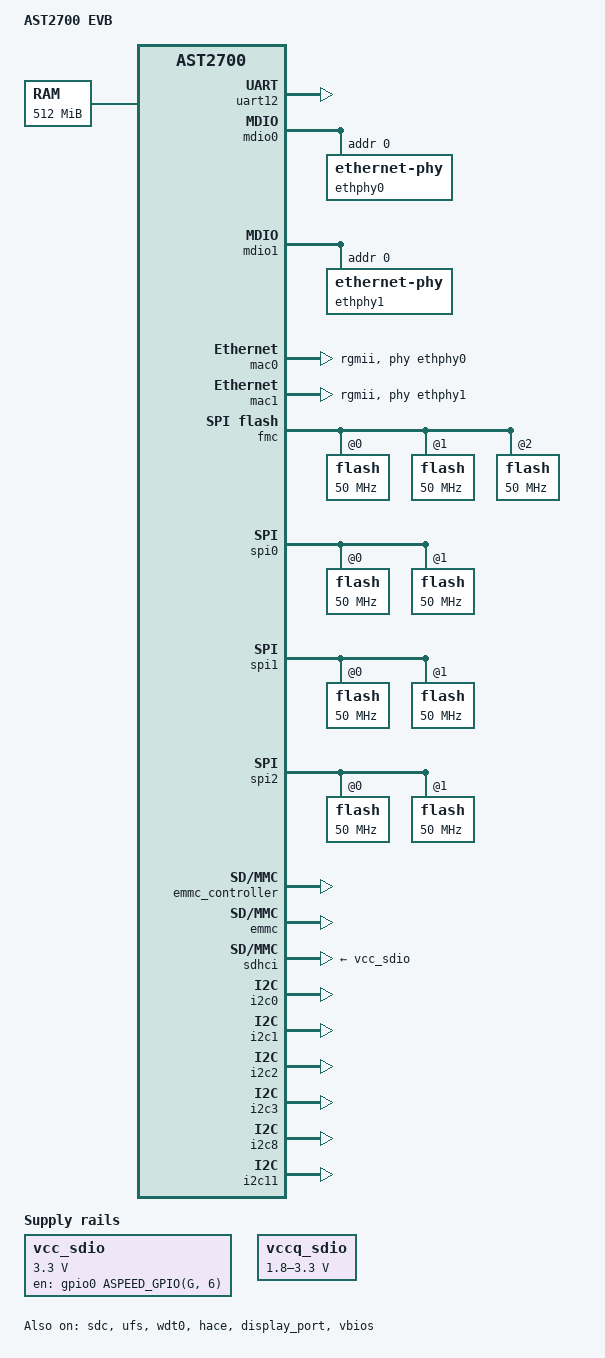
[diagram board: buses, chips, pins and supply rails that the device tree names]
// SPDX-License-Identifier: GPL-2.0+

/dts-v1/;

#include "ast2700.dtsi"
#include "ast2700-u-boot.dtsi"

/ {
	model = "AST2700 EVB";
	compatible = "aspeed,ast2700-evb", "aspeed,ast2700";

	memory {
		device_type = "memory";
		reg = <0x4 0x00000000 0x0 0x20000000>;
	};

	chosen {
		stdout-path = &uart12;
	};

	reserved-memory {
		#address-cells = <2>;
		#size-cells = <2>;

		espi_mmbi_memory: espi-mmbi-memory@428000000 {
			reg = <0x4 0x28000000 0x0 0x4000000>;
			no-map;
		};

		ssp_memory: ssp-memory@42c000000 {
			reg = <0x4 0x2c000000 0x0 0x2000000>;
			no-map;
		};

		tsp_memory: tsp-memory@42e000000 {
			reg = <0x4 0x2e000000 0x0 0x2000000>;
			no-map;
		};

		atf: trusted-firmware-a@430000000 {
			reg = <0x4 0x30000000 0x0 0x80000>;
			no-map;
		};

		optee_core: optee-core@430080000 {
			reg = <0x4 0x30080000 0x0 0x1000000>;
			no-map;
		};

		vbios_base0: vbios-base0@431bb0000 {
			reg = <0x4 0x31bb0000 0x0 0x10000>;
			no-map;
		};

		vbios_base1: vbios-base1@431bc0000 {
			reg = <0x4 0x31bc0000 0x0 0x10000>;
			no-map;
		};

		mctp0_reserved: mctp0-reserved@431bd0000 {
			reg = <0x4 0x31bd0000 0x0 0x10000>;
			no-map;
		};

		mctp1_reserved: mctp1-reserved@431be0000 {
			reg = <0x4 0x31be0000 0x0 0x10000>;
			no-map;
		};

		mctp2_reserved: mctp2-reserved@431bf0000 {
			reg = <0x4 0x31bf0000 0x0 0x10000>;
			no-map;
		};
	};
};

&uart12 {
	status = "okay";
};

&mdio0 {
	status = "okay";
	#address-cells = <1>;
	#size-cells = <0>;
	ethphy0: ethernet-phy@0 {
		reg = <0>;
	};
};

&mdio1 {
	status = "okay";
	#address-cells = <1>;
	#size-cells = <0>;
	ethphy1: ethernet-phy@0 {
		reg = <0>;
	};
};

&mac0 {
	status = "okay";
	phy-mode = "rgmii";
	phy-handle = <&ethphy0>;
	pinctrl-names = "default";
	pinctrl-0 = <&pinctrl_rgmii0_default>;
};

&mac1 {
	status = "okay";
	phy-mode = "rgmii";
	phy-handle = <&ethphy1>;
	pinctrl-names = "default";
	pinctrl-0 = <&pinctrl_rgmii1_default>;
};

&fmc {
	status = "okay";
	pinctrl-names = "default";
	pinctrl-0 = <&pinctrl_fwspi_quad_default>;

	flash@0 {
		status = "okay";
		spi-max-frequency = <50000000>;
		spi-tx-bus-width = <4>;
		spi-rx-bus-width = <4>;
	};

	flash@1 {
		status = "okay";
		spi-max-frequency = <50000000>;
		spi-tx-bus-width = <4>;
		spi-rx-bus-width = <4>;
	};

	flash@2 {
		status = "okay";
		spi-max-frequency = <50000000>;
		spi-tx-bus-width = <4>;
		spi-rx-bus-width = <4>;
	};
};

&spi0 {
	status = "okay";
	pinctrl-names = "default";
	pinctrl-0 = <&pinctrl_spi0_default &pinctrl_spi0_cs1_default>;

	flash@0 {
		status = "okay";
		spi-max-frequency = <50000000>;
		spi-tx-bus-width = <2>;
		spi-rx-bus-width = <2>;
	};

	flash@1 {
		status = "okay";
		spi-max-frequency = <50000000>;
		spi-tx-bus-width = <2>;
		spi-rx-bus-width = <2>;
	};
};

&spi1 {
	status = "okay";
	pinctrl-names = "default";
	pinctrl-0 = <&pinctrl_spi1_default &pinctrl_spi1_cs1_default>;

	flash@0 {
		status = "okay";
		spi-max-frequency = <50000000>;
		spi-tx-bus-width = <2>;
		spi-rx-bus-width = <2>;
	};

	flash@1 {
		status = "okay";
		spi-max-frequency = <50000000>;
		spi-tx-bus-width = <2>;
		spi-rx-bus-width = <2>;
	};
};

&spi2 {
	status = "okay";
	pinctrl-names = "default";
	pinctrl-0 = <&pinctrl_spi2_default &pinctrl_spi2_cs1_default>;

#if 1
	flash@0 {
		status = "okay";
		spi-max-frequency = <50000000>;
		spi-tx-bus-width = <2>;
		spi-rx-bus-width = <2>;
	};

	flash@1 {
		status = "okay";
		spi-max-frequency = <50000000>;
		spi-tx-bus-width = <2>;
		spi-rx-bus-width = <2>;
	};
#else
	compatible = "aspeed,ast2700-spi-txrx";
	spi-aspeed-full-duplex;
	tpm0: tpmdev@0 {
		compatible = "tcg,tpm_tis-spi";
		spi-max-frequency = <25000000>;
		reg = <0>;
		status = "okay";
	};
#endif
};

&emmc_controller {
	status = "okay";
	sdhci_hs200; /* enable hs200 */
};

&emmc {
	status = "okay";
	max-frequency = <200000000>;
};

&sdc {
	status = "okay";
	sdhci_hs200; /* enable sdr104 */

	vcc_sdio: vcc-sdio {
		status = "okay";
		compatible = "regulator-fixed";
		gpios = <&gpio0 ASPEED_GPIO(G, 6) GPIO_ACTIVE_HIGH>;
		regulator-name = "vcc_sdio";
		regulator-min-microvolt = <3300000>;
		regulator-max-microvolt = <3300000>;
		enable-active-high;
		regulator-boot-on;
	};

	vccq_sdio: vccq-sdio {
		status = "okay";
		compatible = "regulator-gpio";
		gpios = <&gpio0 ASPEED_GPIO(G, 7) GPIO_ACTIVE_HIGH>;
		gpios-states = <1>;
		states = <1800000 0x0>,
			 <3300000 0x1>;
		regulator-name = "vccq_sdio";
		regulator-type = "voltage";
		regulator-min-microvolt = <1800000>;
		regulator-max-microvolt = <3300000>;
		regulator-always-on;
	};
};

&sdhci {
	status = "okay";
	pinctrl-names = "default";
	pinctrl-0 = <&pinctrl_sdio_default>;
	vmmc-supply = <&vcc_sdio>;
	vqmmc-supply = <&vccq_sdio>;
	/*
	 * When running SDR104 mode, it suggests to set driving to 3.
	 * When running HS mode, it suggests to set driving to 2.
	 */
	sdhci-drive-type = <3>;
	max-frequency = <100000000>;
};

&ufs {
	status = "okay";
};

&i2c0 {
	status = "okay";
};

&i2c1 {
	status = "okay";
};

&i2c2 {
	status = "okay";
};

&i2c3 {
	status = "okay";
};

&i2c8 {
	status = "okay";
};

&i2c11 {
	status = "okay";
};

&wdt0 {
	status = "okay";
};

&hace {
	status = "okay";
};

&display_port {
	status = "okay";
};

&vbios {
	status = "okay";
};

&soc1_clk {
	mac0-clk-delay = <0x33 0x30
			  0x10 0x10
			  0x10 0x10>;
	mac1-clk-delay = <0x31 0x31
			  0x10 0x10
			  0x10 0x10>;
};
